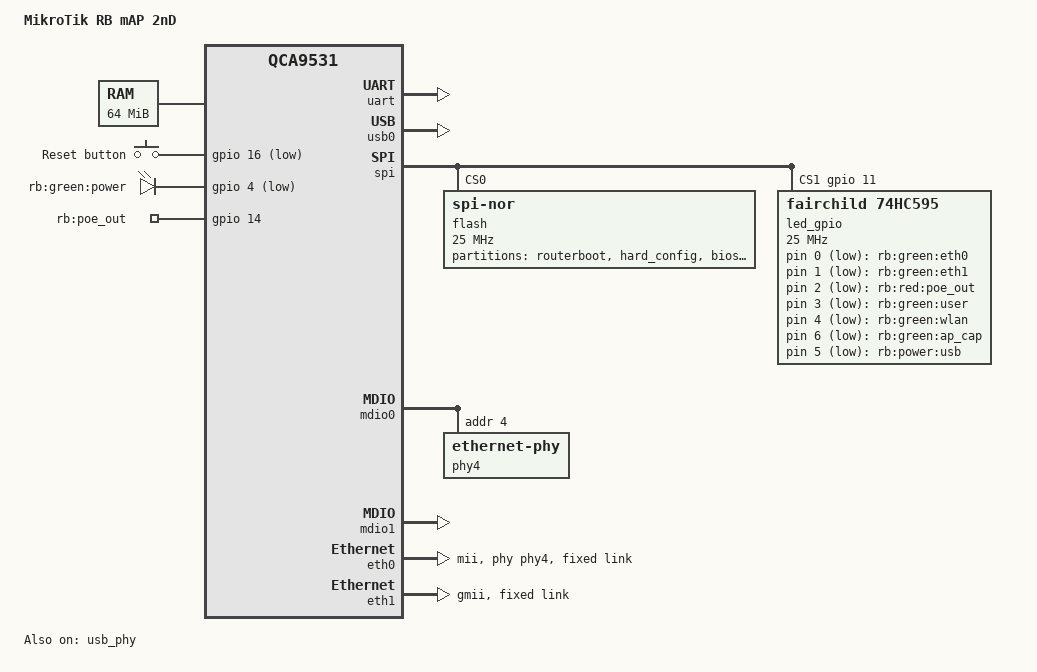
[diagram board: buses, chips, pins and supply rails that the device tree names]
// SPDX-License-Identifier: GPL-2.0-or-later OR MIT
/dts-v1/;

#include <dt-bindings/gpio/gpio.h>
#include <dt-bindings/input/input.h>

#include "qca9531.dtsi"

/ {
	compatible = "mikrotik,rb-map-2nd", "qca,qca9531";
	model = "MikroTik RB mAP 2nD";

	memory@0 {
		device_type = "memory";
		reg = <0x0 0x4000000>;
	};

	chosen {
		bootargs = "console=ttyS0,115200n8";
	};

	aliases {
		led-status = &user;
	};

	keys {
		compatible = "gpio-keys";
		#address-cells = <1>;
		#size-cells = <0>;

		button0 {
			label = "Reset button";
			linux,code = <KEY_RESTART>;
			gpios = <&gpio 16 GPIO_ACTIVE_LOW>;
			debounce-interval = <60>;
		};
	};

	leds {
		compatible = "gpio-leds";

		power {
			label = "rb:green:power";
			gpios = <&gpio 4 GPIO_ACTIVE_LOW>;
			default-state = "on";
		};

		lan0 {
			label = "rb:green:eth0";
			gpios = <&led_gpio 0 GPIO_ACTIVE_LOW>;
			default-state = "off";
		};

		lan1 {
			label = "rb:green:eth1";
			gpios = <&led_gpio 1 GPIO_ACTIVE_LOW>;
			default-state = "off";
		};

		poe_out {
			label = "rb:red:poe_out";
			gpios = <&led_gpio 2 GPIO_ACTIVE_LOW>;
			default-state = "off";
		};
		
		user {
			label = "rb:green:user";
			gpios = <&led_gpio 3 GPIO_ACTIVE_LOW>;
			default-state = "off";
		};
		
		wlan {
			label = "rb:green:wlan";
			gpios = <&led_gpio 4 GPIO_ACTIVE_LOW>;
			default-state = "off";
			linux,default-trigger = "phy0tpt";
		};

		ap_cap {
			label = "rb:green:ap_cap";
			gpios = <&led_gpio 6 GPIO_ACTIVE_LOW>;
			default-state = "off";
		};
	};

	gpio-export {
		compatible = "gpio-export";
		#size-cells = <0>;

		gpio_poe_out {
			gpio-export,name = "rb:poe_out";
			gpio-export,output = <0>;
			gpios = <&gpio 14 GPIO_ACTIVE_HIGH>;
		};
		
		gpio_usb_power {
			gpio-export,name = "rb:power:usb";
			gpio-export,output = <1>;
			gpios = <&led_gpio 5 GPIO_ACTIVE_LOW>;
		};
	};
};

&ref {
	clock-frequency = <25000000>;
};

&uart {
	status = "okay";
};

&usb0 {
	status = "okay";

	hub_port: port@1 {
		reg = <1>;
		#trigger-soruce-cells = <0>;
	};
};

&usb_phy {
	status = "okay";
};

&spi {
	status = "okay";
	cs-gpios = <0>, <&gpio 11 0>;
	num-cs = <2>;

	flash@0 {
		#address-cells = <1>;
		#size-cells = <1>;
		compatible = "jedec,spi-nor";
		reg = <0>;
		spi-max-frequency = <25000000>;

		partitions {
			compatible = "fixed-partitions";
			#address-cells = <1>;
			#size-cells = <1>;

			partition@0 {
				label = "routerboot";
				reg = <0x000000 0xe000>;
			};

			config: partition@e000 {
				label = "hard_config";
				reg = <0x00e000 0x1000>;
			};

			partition@f000 {
				label = "bios";
				reg = <0x00f000 0x1000>;
			};
			
			partition@f000 {
				label = "bios";
				reg = <0x00f000 0x1000>;
			};
			
			partition@10000 {
				label = "routerboot2";
				reg = <0x010000 0xf000>;
			};

			partition@1f000 {
				label = "soft_config";
				reg = <0x01f000 0x1000>;
			};

			partition@20000 {
				label = "firmware";
				reg = <0x020000 0xfe0000>;
			};
		};
	};
	
	led_gpio: led_gpio@0 {
				compatible = "fairchild,74hc595";
				reg = <1>;
				gpio-controller;
				#gpio-cells = <2>;
				registers-number = <1>;
				spi-max-frequency = <25000000>;
			};
};

&mdio0 {
	status = "okay";

	phy-mask = <4>;
	phy4: ethernet-phy@4 {
		reg = <4>;
	};
};

&mdio1 {
	status = "okay";
};

&eth0 {
	status = "okay";

	mtd-mac-address = <&config 0x10>;
	phy-handle = <&phy4>;
	phy-mode = "mii";

	fixed-link {
		speed = <100>;
		full-duplex;
	};
};

&eth1 {
	status = "okay";

	mtd-mac-address = <&config 0x10>;
	mtd-mac-address-increment = <1>;
	phy-mode = "gmii";

	fixed-link {
		speed = <1000>;
		full-duplex;
	};
};

&wmac {
	status = "disabled";
	mtd-cal-data = <&art 0x1000>;
	mtd-mac-address = <&config 0x10>;
	mtd-mac-address-increment = <2>;
};
